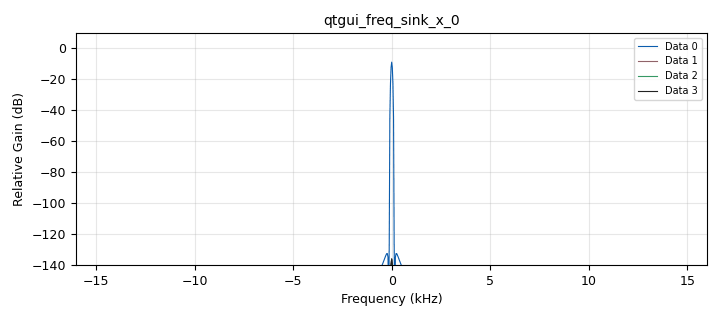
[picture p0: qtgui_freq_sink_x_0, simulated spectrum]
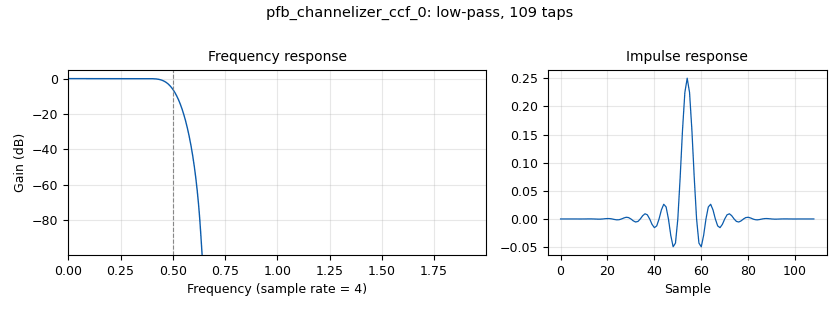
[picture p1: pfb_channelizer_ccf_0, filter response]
options:
  parameters:
    author: josh
    generate_options: qt_gui
    id: test_channelizer
    output_language: python
    title: Not titled yet
  states: {}

blocks:
- name: attn
  id: variable
  parameters:
    value: '60'
  states: {}
- name: freq
  id: variable_qtgui_range
  parameters:
    start: '-samp_rate/2'
    step: '1'
    stop: samp_rate/2
    value: '0'
  states: {}
- name: nchans
  id: variable
  parameters:
    value: '4'
  states: {}
- name: samp_rate
  id: variable
  parameters:
    value: '32000'
  states: {}
- name: taps
  id: variable
  parameters:
    value: filter.firdes.low_pass_2(1, nchans, 1 / 2, 1 / 10,  attenuation_dB=attn,window=fft.window.WIN_BLACKMAN_hARRIS)
  states: {}
- name: analog_sig_source_x_0
  id: analog_sig_source_x
  parameters:
    amp: '1'
    freq: freq
    minoutbuf: '1048576'
    offset: '0'
    phase: '0'
    samp_rate: samp_rate
    type: complex
    waveform: analog.GR_COS_WAVE
  states: {}
- name: blocks_copy_0
  id: blocks_copy
  parameters:
    enabled: 'True'
    minoutbuf: '1048576'
    type: complex
  states: {state: disabled}
- name: blocks_null_sink_0
  id: blocks_null_sink
  parameters:
    type: complex
  states: {state: disabled}
- name: blocks_null_sink_0_0
  id: blocks_null_sink
  parameters:
    type: complex
  states: {state: disabled}
- name: blocks_null_sink_0_1
  id: blocks_null_sink
  parameters:
    type: complex
  states: {state: disabled}
- name: blocks_null_sink_0_2
  id: blocks_null_sink
  parameters:
    type: complex
  states: {state: disabled}
- name: blocks_null_source_0
  id: blocks_null_source
  parameters:
    type: complex
  states: {state: disabled}
- name: import_0
  id: import
  parameters:
    imports: import wifigpu
  states: {}
- name: import_0_0
  id: import
  parameters:
    imports: from gnuradio import filter, fft
  states: {}
- name: pfb_channelizer_ccf_0
  id: pfb_channelizer_ccf
  parameters:
    atten: '100'
    bus_conns: '[[0,],]'
    ch_map: '[]'
    nchans: nchans
    osr: '1.0'
    taps: taps
  states: {}
- name: qtgui_freq_sink_x_0
  id: qtgui_freq_sink_x
  parameters:
    average: '0.2'
    bw: samp_rate
    fc: '0'
    fftsize: '1024'
    nconnections: '4'
    type: complex
  states: {}
- name: qtgui_time_sink_x_0
  id: qtgui_time_sink_x
  parameters:
    size: '20480'
    srate: '1'
    type: complex
  states: {state: disabled}
- name: wifigpu_gpu_channelizer_0
  id: wifigpu_gpu_channelizer
  parameters:
    minoutbuf: '1048576'
    nchans: nchans
    taps: taps
  states: {state: disabled}

connections:
- [analog_sig_source_x_0, '0', pfb_channelizer_ccf_0, '0']
- [analog_sig_source_x_0, '0', wifigpu_gpu_channelizer_0, '0']
- [blocks_copy_0, '0', qtgui_freq_sink_x_0, '0']
- [blocks_copy_0, '0', qtgui_time_sink_x_0, '0']
- [blocks_null_source_0, '0', wifigpu_gpu_channelizer_0, '0']
- [pfb_channelizer_ccf_0, '0', blocks_copy_0, '0']
- [pfb_channelizer_ccf_0, '0', qtgui_freq_sink_x_0, '0']
- [pfb_channelizer_ccf_0, '1', qtgui_freq_sink_x_0, '1']
- [pfb_channelizer_ccf_0, '2', qtgui_freq_sink_x_0, '2']
- [pfb_channelizer_ccf_0, '3', qtgui_freq_sink_x_0, '3']
- [wifigpu_gpu_channelizer_0, '0', blocks_copy_0, '0']
- [wifigpu_gpu_channelizer_0, '0', blocks_null_sink_0_2, '0']
- [wifigpu_gpu_channelizer_0, '0', qtgui_freq_sink_x_0, '0']
- [wifigpu_gpu_channelizer_0, '1', blocks_null_sink_0, '0']
- [wifigpu_gpu_channelizer_0, '1', qtgui_freq_sink_x_0, '1']
- [wifigpu_gpu_channelizer_0, '2', blocks_null_sink_0_0, '0']
- [wifigpu_gpu_channelizer_0, '2', qtgui_freq_sink_x_0, '2']
- [wifigpu_gpu_channelizer_0, '3', blocks_null_sink_0_1, '0']
- [wifigpu_gpu_channelizer_0, '3', qtgui_freq_sink_x_0, '3']

metadata:
  file_format: 1
